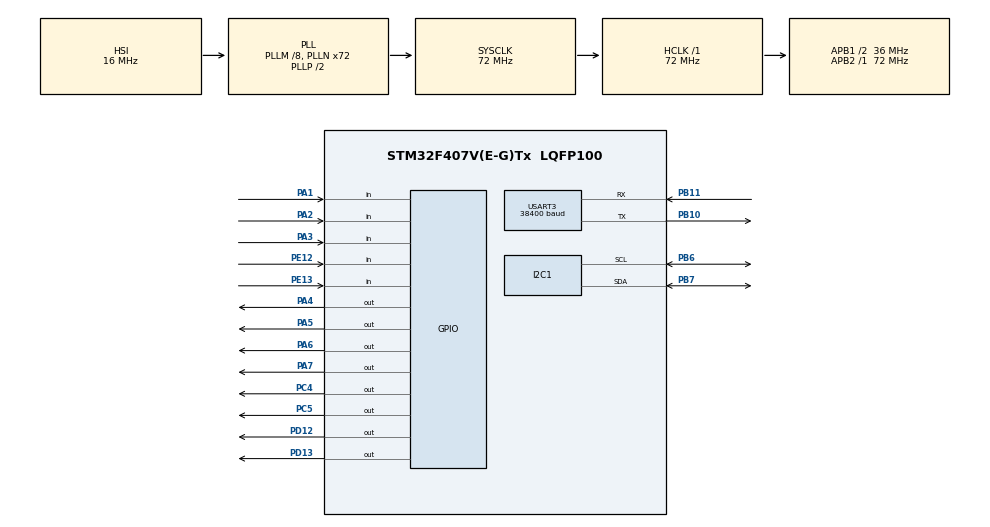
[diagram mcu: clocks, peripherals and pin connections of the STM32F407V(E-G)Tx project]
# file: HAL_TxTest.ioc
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I2C1.NoStretchMode=I2C_NOSTRETCH_DISABLE
Mcu.Family=STM32F4
Mcu.Name=STM32F407V(E-G)Tx
Mcu.Package=LQFP100
NVIC.PriorityGroup=NVIC_PRIORITYGROUP_4
NVIC.USART3_IRQn=true\:0\:0\:false\:false\:true\:true
PA1.GPIO_PuPd=GPIO_PULLUP
PA1.Signal=GPIO_Input
PA13.Mode=Serial_Wire
PA13.Signal=SYS_JTMS-SWDIO
PA14.Mode=Serial_Wire
PA14.Signal=SYS_JTCK-SWCLK
PA2.GPIO_PuPd=GPIO_PULLUP
PA2.Signal=GPIO_Input
PA3.GPIO_PuPd=GPIO_PULLUP
PA3.Signal=GPIO_Input
PA4.GPIO_Speed=GPIO_SPEED_FREQ_HIGH
PA4.Signal=GPIO_Output
PA5.GPIO_Speed=GPIO_SPEED_FREQ_HIGH
PA5.Signal=GPIO_Output
PA6.GPIO_Speed=GPIO_SPEED_FREQ_HIGH
PA6.Signal=GPIO_Output
PA7.GPIO_Speed=GPIO_SPEED_FREQ_HIGH
PA7.Signal=GPIO_Output
PB10.Mode=Asynchronous
PB10.Signal=USART3_TX
PB11.Mode=Asynchronous
PB11.Signal=USART3_RX
PB6.GPIO_PuPdOD=GPIO_NOPULL
PB6.Mode=I2C
PB6.Signal=I2C1_SCL
PB7.GPIO_PuPdOD=GPIO_NOPULL
PB7.Mode=I2C
PB7.Signal=I2C1_SDA
PC4.GPIO_Speed=GPIO_SPEED_FREQ_HIGH
PC4.Signal=GPIO_Output
PC5.GPIO_Speed=GPIO_SPEED_FREQ_HIGH
PC5.Signal=GPIO_Output
PD12.GPIO_Speed=GPIO_SPEED_FREQ_HIGH
PD12.Signal=GPIO_Output
PD13.GPIO_Speed=GPIO_SPEED_FREQ_HIGH
PD13.Signal=GPIO_Output
PE12.GPIO_PuPd=GPIO_PULLDOWN
PE12.Signal=GPIO_Input
PE13.GPIO_PuPd=GPIO_PULLDOWN
PE13.Signal=GPIO_Input
ProjectManager.HeapSize=0x200
ProjectManager.StackSize=0x400
ProjectManager.TargetToolchain=MDK-ARM V5
RCC.48MHZClocksFreq_Value=36000000
RCC.AHBFreq_Value=72000000
RCC.APB1CLKDivider=RCC_HCLK_DIV2
RCC.APB1Freq_Value=36000000
RCC.APB1TimFreq_Value=72000000
RCC.APB2Freq_Value=72000000
RCC.APB2TimFreq_Value=72000000
RCC.CortexFreq_Value=72000000
RCC.HCLKFreq_Value=72000000
RCC.HSE_VALUE=25000000
RCC.HSI_VALUE=16000000
RCC.LSE_VALUE=32768
RCC.PLLM=8
RCC.PLLN=72
RCC.SYSCLKFreq_VALUE=72000000
RCC.SYSCLKSource=RCC_SYSCLKSOURCE_PLLCLK
RCC.VCOOutputFreq_Value=144000000
USART3.BaudRate=38400
USART3.Parity=PARITY_NONE
USART3.StopBits=STOPBITS_2
USART3.VirtualMode=VM_ASYNC
board=HAL_TxTest

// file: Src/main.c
/**
  ******************************************************************************
  * @file           : main.c
  * @brief          : Main program body
  ******************************************************************************
  ** This notice applies to any and all portions of this file
  * that are not between comment pairs USER CODE BEGIN and
  * USER CODE END. Other portions of this file, whether
  * inserted by the user or by software development tools
  * are owned by their respective copyright owners.
  *
  * COPYRIGHT(c) 2018 STMicroelectronics
  *
  * Redistribution and use in source and binary forms, with or without modification,
  * are permitted provided that the following conditions are met:
  *   1. Redistributions of source code must retain the above copyright notice,
  *      this list of conditions and the following disclaimer.
  *   2. Redistributions in binary form must reproduce the above copyright notice,
  *      this list of conditions and the following disclaimer in the documentation
  *      and/or other materials provided with the distribution.
  *   3. Neither the name of STMicroelectronics nor the names of its contributors
  *      may be used to endorse or promote products derived from this software
  *      without specific prior written permission.
  *
  * THIS SOFTWARE IS PROVIDED BY THE COPYRIGHT HOLDERS AND CONTRIBUTORS "AS IS"
  * AND ANY EXPRESS OR IMPLIED WARRANTIES, INCLUDING, BUT NOT LIMITED TO, THE
  * IMPLIED WARRANTIES OF MERCHANTABILITY AND FITNESS FOR A PARTICULAR PURPOSE ARE
  * DISCLAIMED. IN NO EVENT SHALL THE COPYRIGHT HOLDER OR CONTRIBUTORS BE LIABLE
  * FOR ANY DIRECT, INDIRECT, INCIDENTAL, SPECIAL, EXEMPLARY, OR CONSEQUENTIAL
  * DAMAGES (INCLUDING, BUT NOT LIMITED TO, PROCUREMENT OF SUBSTITUTE GOODS OR
  * SERVICES; LOSS OF USE, DATA, OR PROFITS; OR BUSINESS INTERRUPTION) HOWEVER
  * CAUSED AND ON ANY THEORY OF LIABILITY, WHETHER IN CONTRACT, STRICT LIABILITY,
  * OR TORT (INCLUDING NEGLIGENCE OR OTHERWISE) ARISING IN ANY WAY OUT OF THE USE
  * OF THIS SOFTWARE, EVEN IF ADVISED OF THE POSSIBILITY OF SUCH DAMAGE.
  *
  ******************************************************************************
  */
#include "main.h"
#include "stm32f4xx_hal.h"

/* USER CODE BEGIN Includes */
#include "ssd1306.h"
#include "fonts.h"
#include "string.h"
#include "stdio.h"
#include "stdlib.h"
/* USER CODE END Includes */

I2C_HandleTypeDef hi2c1;

UART_HandleTypeDef huart3;

/* USER CODE BEGIN PV */
/* Private variables ---------------------------------------------------------*/

char TxBuff[4];
char RxBuff[4];

char CRxBuff[2];
char CTxBuff[2];
char CBtRst[1]= "$";	//00100100 	$ 	RESET

char StrInit[5];
char StrAxis[5];
char StrMult[5];

int NroAxis, NroAx;
int NroMult, NroFe;
int Tx;
int BHold = 0;

GPIO_PinState EncState1;
GPIO_PinState EncState2;
/* USER CODE END PV */

void SystemClock_Config(void);
static void MX_GPIO_Init(void);
static void MX_I2C1_Init(void);
static void MX_USART3_UART_Init(void);

/* USER CODE BEGIN PFP */
/* Private function prototypes -----------------------------------------------*/
void RstSlave(void);
void InitOLED(char* StrInit);
void MenuOLED(char* StrAxis, char* StrMult);
void AxisOLED(char* StrAxis);
void MultOLED(char* StrMult);
void InitLED(void);
void TxChar(char* CTxBuff);
void BottomHold(void);
/* USER CODE END PFP */

int main(void)
{

  /* MCU Configuration----------------------------------------------------------*/

  /* Reset of all peripherals, Initializes the Flash interface and the Systick. */
  HAL_Init();

  /* Configure the system clock */
  SystemClock_Config();

  /* Initialize all configured peripherals */
  MX_GPIO_Init();
  MX_I2C1_Init();
  MX_USART3_UART_Init();
  /* USER CODE BEGIN 2 */
	/**
	#define UART_IT_MASK  0x0000FFFFU
	#define __HAL_UART_ENABLE_IT(__HANDLE__, __INTERRUPT__)   ((((__INTERRUPT__) >> 28U) == 1U)? ((__HANDLE__)->Instance->CR1 |= ((__INTERRUPT__) & UART_IT_MASK)): \
                                                           (((__INTERRUPT__) >> 28U) == 2U)? ((__HANDLE__)->Instance->CR2 |=  ((__INTERRUPT__) & UART_IT_MASK)): \
                                                        ((__HANDLE__)->Instance->CR3 |= ((__INTERRUPT__) & UART_IT_MASK)))
	*	@brief  Enable the specified UART interrupt.
  * @param  __HANDLE__ specifies the UART Handle.
  *         This parameter can be UARTx where x: 1, 2, 3, 4, 5, 6, 7 or 8 to select the USART or
  *         UART peripheral.
  * @param  __INTERRUPT__ specifies the UART interrupt source to enable.
  *          This parameter can be one of the following values:
  *            @arg UART_IT_CTS:  CTS change interrupt
  *            @arg UART_IT_LBD:  LIN Break detection interrupt
  *            @arg UART_IT_TXE:  Transmit Data Register empty interrupt
  *            @arg UART_IT_TC:   Transmission complete interrupt
  *            @arg UART_IT_RXNE: Receive Data register not empty interrupt
  *            @arg UART_IT_IDLE: Idle line detection interrupt
  *            @arg UART_IT_PE:   Parity Error interrupt
  *            @arg UART_IT_ERR:  Error interrupt(Frame error, noise error, overrun error)
  * @retval None
  */
	__HAL_UART_ENABLE_IT(&huart3, UART_IT_TC|UART_IT_RXNE);
	ssd1306_Init();
	InitOLED("bts");

	HAL_Delay(2000);

	MenuOLED("X","  *1");
	InitLED();
	NroAxis = 1;
	NroMult = 1;
	NroAx = 1;
	NroFe = 1;

  /* USER CODE END 2 */

  /* Infinite loop */
  while (1)
  {

  /* USER CODE BEGIN 3 */
		/**
		GPIO_PinState HAL_GPIO_ReadPin(GPIO_TypeDef* GPIOx, uint16_t GPIO_Pin)
		* @brief  Reads the specified input port pin.
		* @param  GPIOx where x can be (A..K) to select the GPIO peripheral for STM32F429X device or
		*                      x can be (A..I) to select the GPIO peripheral for STM32F40XX and STM32F427X devices.
		* @param  GPIO_Pin specifies the port bit to read.
		*         This parameter can be GPIO_PIN_x where x can be (0..15).
		* @retval The input port pin value.
		*/
		EncState1 = HAL_GPIO_ReadPin(GPIOE, GPIO_PIN_12);
		HAL_GPIO_WritePin(GPIOD, GPIO_PIN_12, EncState1);
		EncState2 = HAL_GPIO_ReadPin(GPIOE, GPIO_PIN_13);
		HAL_GPIO_WritePin(GPIOD, GPIO_PIN_13, EncState2);

		if(HAL_GPIO_ReadPin(GPIOA, GPIO_PIN_1) == GPIO_PIN_RESET)
		{
			switch(NroAxis)
			{
				case 1:
					AxisOLED("Y");
					/*
					//HAL_GPIO_WritePin(GPIOA, GPIO_PIN_5, GPIO_PIN_SET);
					//HAL_GPIO_WritePin(GPIOA, GPIO_PIN_4, GPIO_PIN_RESET);
					//HAL_GPIO_WritePin(GPIOA, GPIO_PIN_6, GPIO_PIN_RESET);*/
					NroAxis++;
					break;
				case 2:
					AxisOLED("Z");
					/*
					HAL_GPIO_WritePin(GPIOA, GPIO_PIN_6, GPIO_PIN_SET);
					//HAL_GPIO_WritePin(GPIOA, GPIO_PIN_4, GPIO_PIN_RESET);
					//HAL_GPIO_WritePin(GPIOA, GPIO_PIN_5, GPIO_PIN_RESET);*/
					NroAxis++;
					break;
				case 3:
					AxisOLED("X");
					/*
					//HAL_GPIO_WritePin(GPIOA, GPIO_PIN_4, GPIO_PIN_SET);
					//HAL_GPIO_WritePin(GPIOA, GPIO_PIN_5, GPIO_PIN_RESET);
					//HAL_GPIO_WritePin(GPIOA, GPIO_PIN_6, GPIO_PIN_RESET);*/
					NroAxis++;
					break;
				}
			if(NroAxis == 4)
				NroAxis = 1;
			HAL_Delay(200);
			}
			//Mult
		if(HAL_GPIO_ReadPin(GPIOA, GPIO_PIN_3) == GPIO_PIN_RESET)
		{
			switch(NroMult)
			{
				case 1:
					MultOLED(" *10");
					/*
					//HAL_GPIO_WritePin(GPIOC, GPIO_PIN_4, GPIO_PIN_SET);
					//HAL_GPIO_WritePin(GPIOA, GPIO_PIN_7, GPIO_PIN_RESET);
					//HAL_GPIO_WritePin(GPIOC, GPIO_PIN_5, GPIO_PIN_RESET);*/
					NroMult++;
					break;
				case 2:
					MultOLED("*100");
					/*
					//HAL_GPIO_WritePin(GPIOC, GPIO_PIN_5, GPIO_PIN_SET);
					//HAL_GPIO_WritePin(GPIOA, GPIO_PIN_7, GPIO_PIN_RESET);
					//HAL_GPIO_WritePin(GPIOC, GPIO_PIN_4, GPIO_PIN_RESET);*/
					NroMult++;
					break;
				case 3:
					MultOLED("  *1");
					/*
					//HAL_GPIO_WritePin(GPIOA, GPIO_PIN_7, GPIO_PIN_SET);
					//HAL_GPIO_WritePin(GPIOC, GPIO_PIN_4, GPIO_PIN_RESET);
					//HAL_GPIO_WritePin(GPIOC, GPIO_PIN_5, GPIO_PIN_RESET);*/
					NroMult++;
					break;
				}
			if(NroMult == 4)
				NroMult = 1;
			HAL_Delay(200);
			}
		/**
		int sprintf(char * __restrict *s*, const char * __restrict *format*, ...) __attribute__((__nonnull__(1,2)));
		* is equivalent to fprintf, except that the argument s specifies an array into which the generated output is to be written,
		* rather than to a stream. A null character is written at the end of the characters written;
		* it is not counted as part of the returned sum.
		* Returns: the number of characters written to the array, not counting the terminating null character.
		*/
		BottomHold();
		if(BHold == 0)
			sprintf(TxBuff, "%i%i%u%u", NroAxis, NroMult, EncState1, EncState2);
		else if (BHold == 1)
			sprintf(TxBuff, "%i%i%u%u", NroAx, NroFe, EncState1, EncState2);
		Tx = atoi(TxBuff);
		TxChar(CTxBuff);
		/**
		HAL_UART_Transmit_IT(UART_HandleTypeDef *huart, uint8_t *pData, uint16_t Size)
		* @brief  Sends an amount of data in non blocking mode.
		* @param  huart pointer to a UART_HandleTypeDef structure that contains
		*                the configuration information for the specified UART module.
		* @param  pData Pointer to data buffer
		* @param  Size Amount of data to be sent
		* @retval HAL status
		*/
		HAL_UART_Transmit_IT(&huart3, (uint8_t *)CTxBuff, strlen(CTxBuff));

		/**
		BINARY  	ASCII		|
		------------------
		00101000	(				00111000	8				01010000	P				01101000	h				01110100	t
		00101010	*				00111010	:				01010010	R				01101010	j				01110110	v
		00101100	,				00111100	<				01010100	T				01101100	l				01111000	x
		00101110	.				00111110	>				01010110	V				01101110	n				01111010	z
		00110000	0				01001000	H				01011000	X				01110000	p				01111100	|
		00110010	2				01001010	J				01011010	Z				01110010	r				01111110	~
		00110100	4				01001100	L				01011100  \ ->00100110 	&
		00110110	6				01001110	N				01011110	^
		*/

	}
  /* USER CODE END 3 */

}

void SystemClock_Config(void)
{

  RCC_OscInitTypeDef RCC_OscInitStruct;
  RCC_ClkInitTypeDef RCC_ClkInitStruct;

    /**Configure the main internal regulator output voltage
    */
  __HAL_RCC_PWR_CLK_ENABLE();

  __HAL_PWR_VOLTAGESCALING_CONFIG(PWR_REGULATOR_VOLTAGE_SCALE1);

    /**Initializes the CPU, AHB and APB busses clocks
    */
  RCC_OscInitStruct.OscillatorType = RCC_OSCILLATORTYPE_HSI;
  RCC_OscInitStruct.HSIState = RCC_HSI_ON;
  RCC_OscInitStruct.HSICalibrationValue = 16;
  RCC_OscInitStruct.PLL.PLLState = RCC_PLL_ON;
  RCC_OscInitStruct.PLL.PLLSource = RCC_PLLSOURCE_HSI;
  RCC_OscInitStruct.PLL.PLLM = 8;
  RCC_OscInitStruct.PLL.PLLN = 72;
  RCC_OscInitStruct.PLL.PLLP = RCC_PLLP_DIV2;
  RCC_OscInitStruct.PLL.PLLQ = 4;
  if (HAL_RCC_OscConfig(&RCC_OscInitStruct) != HAL_OK)
  {
    _Error_Handler(__FILE__, __LINE__);
  }

    /**Initializes the CPU, AHB and APB busses clocks
    */
  RCC_ClkInitStruct.ClockType = RCC_CLOCKTYPE_HCLK|RCC_CLOCKTYPE_SYSCLK
                              |RCC_CLOCKTYPE_PCLK1|RCC_CLOCKTYPE_PCLK2;
  RCC_ClkInitStruct.SYSCLKSource = RCC_SYSCLKSOURCE_PLLCLK;
  RCC_ClkInitStruct.AHBCLKDivider = RCC_SYSCLK_DIV1;
  RCC_ClkInitStruct.APB1CLKDivider = RCC_HCLK_DIV2;
  RCC_ClkInitStruct.APB2CLKDivider = RCC_HCLK_DIV1;

  if (HAL_RCC_ClockConfig(&RCC_ClkInitStruct, FLASH_LATENCY_2) != HAL_OK)
  {
    _Error_Handler(__FILE__, __LINE__);
  }

    /**Configure the Systick interrupt time
    */
  HAL_SYSTICK_Config(HAL_RCC_GetHCLKFreq()/1000);

    /**Configure the Systick
    */
  HAL_SYSTICK_CLKSourceConfig(SYSTICK_CLKSOURCE_HCLK);

  /* SysTick_IRQn interrupt configuration */
  HAL_NVIC_SetPriority(SysTick_IRQn, 0, 0);
}

/* I2C1 init function */
static void MX_I2C1_Init(void)
{

  hi2c1.Instance = I2C1;
  hi2c1.Init.ClockSpeed = 100000;
  hi2c1.Init.DutyCycle = I2C_DUTYCYCLE_2;
  hi2c1.Init.OwnAddress1 = 0;
  hi2c1.Init.AddressingMode = I2C_ADDRESSINGMODE_7BIT;
  hi2c1.Init.DualAddressMode = I2C_DUALADDRESS_DISABLE;
  hi2c1.Init.OwnAddress2 = 0;
  hi2c1.Init.GeneralCallMode = I2C_GENERALCALL_DISABLE;
  hi2c1.Init.NoStretchMode = I2C_NOSTRETCH_DISABLE;
  if (HAL_I2C_Init(&hi2c1) != HAL_OK)
  {
    _Error_Handler(__FILE__, __LINE__);
  }

}

/* USART3 init function */
static void MX_USART3_UART_Init(void)
{

  huart3.Instance = USART3;
  huart3.Init.BaudRate = 38400;
  huart3.Init.WordLength = UART_WORDLENGTH_8B;
  huart3.Init.StopBits = UART_STOPBITS_2;
  huart3.Init.Parity = UART_PARITY_NONE;
  huart3.Init.Mode = UART_MODE_TX_RX;
  huart3.Init.HwFlowCtl = UART_HWCONTROL_NONE;
  huart3.Init.OverSampling = UART_OVERSAMPLING_16;
  if (HAL_UART_Init(&huart3) != HAL_OK)
  {
    _Error_Handler(__FILE__, __LINE__);
  }

}

/** Configure pins as
        * Analog
        * Input
        * Output
        * EVENT_OUT
        * EXTI
*/
static void MX_GPIO_Init(void)
{

  GPIO_InitTypeDef GPIO_InitStruct;

  /* GPIO Ports Clock Enable */
  __HAL_RCC_GPIOA_CLK_ENABLE();
  __HAL_RCC_GPIOC_CLK_ENABLE();
  __HAL_RCC_GPIOE_CLK_ENABLE();
  __HAL_RCC_GPIOB_CLK_ENABLE();
  __HAL_RCC_GPIOD_CLK_ENABLE();

  /*Configure GPIO pin Output Level */
  HAL_GPIO_WritePin(GPIOA, GPIO_PIN_4|GPIO_PIN_5|GPIO_PIN_6|GPIO_PIN_7, GPIO_PIN_RESET);

  /*Configure GPIO pin Output Level */
  HAL_GPIO_WritePin(GPIOC, GPIO_PIN_4|GPIO_PIN_5, GPIO_PIN_RESET);

  /*Configure GPIO pin Output Level */
  HAL_GPIO_WritePin(GPIOD, GPIO_PIN_12|GPIO_PIN_13, GPIO_PIN_RESET);

  /*Configure GPIO pins : PA1 PA2 PA3 */
  GPIO_InitStruct.Pin = GPIO_PIN_1|GPIO_PIN_2|GPIO_PIN_3;
  GPIO_InitStruct.Mode = GPIO_MODE_INPUT;
  GPIO_InitStruct.Pull = GPIO_PULLUP;
  HAL_GPIO_Init(GPIOA, &GPIO_InitStruct);

  /*Configure GPIO pins : PA4 PA5 PA6 PA7 */
  GPIO_InitStruct.Pin = GPIO_PIN_4|GPIO_PIN_5|GPIO_PIN_6|GPIO_PIN_7;
  GPIO_InitStruct.Mode = GPIO_MODE_OUTPUT_PP;
  GPIO_InitStruct.Pull = GPIO_NOPULL;
  GPIO_InitStruct.Speed = GPIO_SPEED_FREQ_HIGH;
  HAL_GPIO_Init(GPIOA, &GPIO_InitStruct);

  /*Configure GPIO pins : PC4 PC5 */
  GPIO_InitStruct.Pin = GPIO_PIN_4|GPIO_PIN_5;
  GPIO_InitStruct.Mode = GPIO_MODE_OUTPUT_PP;
  GPIO_InitStruct.Pull = GPIO_NOPULL;
  GPIO_InitStruct.Speed = GPIO_SPEED_FREQ_HIGH;
  HAL_GPIO_Init(GPIOC, &GPIO_InitStruct);

  /*Configure GPIO pins : PE12 PE13 */
  GPIO_InitStruct.Pin = GPIO_PIN_12|GPIO_PIN_13;
  GPIO_InitStruct.Mode = GPIO_MODE_INPUT;
  GPIO_InitStruct.Pull = GPIO_PULLDOWN;
  HAL_GPIO_Init(GPIOE, &GPIO_InitStruct);

  /*Configure GPIO pins : PD12 PD13 */
  GPIO_InitStruct.Pin = GPIO_PIN_12|GPIO_PIN_13;
  GPIO_InitStruct.Mode = GPIO_MODE_OUTPUT_PP;
  GPIO_InitStruct.Pull = GPIO_NOPULL;
  GPIO_InitStruct.Speed = GPIO_SPEED_FREQ_HIGH;
  HAL_GPIO_Init(GPIOD, &GPIO_InitStruct);

}

/* USER CODE BEGIN 4 */
void InitLED(void)
{
	HAL_GPIO_WritePin(GPIOA, GPIO_PIN_4, GPIO_PIN_SET);
	HAL_GPIO_WritePin(GPIOA, GPIO_PIN_5, GPIO_PIN_RESET);
	HAL_GPIO_WritePin(GPIOA, GPIO_PIN_6, GPIO_PIN_RESET);
	HAL_GPIO_WritePin(GPIOA, GPIO_PIN_7, GPIO_PIN_SET);
	HAL_GPIO_WritePin(GPIOC, GPIO_PIN_4, GPIO_PIN_RESET);
	HAL_GPIO_WritePin(GPIOC, GPIO_PIN_5, GPIO_PIN_RESET);
}
void InitOLED(char* StrInit)
{
	ssd1306_Fill(Black);				//fill black
	ssd1306_SetCursor(40,2);			//position
	ssd1306_WriteString(StrInit, Font_16x26, White);
	ssd1306_UpdateScreen();			//update OLED
}
/*void ParingOLED(char* strParingOled)
{
	ssd1306_Fill(Black);				//fill black
	ssd1306_SetCursor(40,2);			//position
	ssd1306_WriteString(StrParingOled, Font_11x18, White);
	ssd1306_UpdateScreen();			//update OLED
}*/
void RstSlave(void)
{
	HAL_UART_Transmit_IT(&huart3, (uint8_t *)CBtRst, strlen(CBtRst)); // tx "rstsl"
}
void MenuOLED(char* StrAxis, char* StrMult)
{

	ssd1306_Fill(Black);				//fill black
	ssd1306_SetCursor(25,8);			//position
	ssd1306_WriteString(StrAxis, Font_11x18, White);
	ssd1306_SetCursor(55,3);			//position
	ssd1306_WriteString("|", Font_16x26, White);
	ssd1306_SetCursor(80,8);			//position
	ssd1306_WriteString(StrMult, Font_11x18, White);

	ssd1306_UpdateScreen();			//update OLED
}
void AxisOLED(char* StrAxis)
{
	ssd1306_SetCursor(25,8);			//position
	ssd1306_WriteString(StrAxis, Font_11x18, White);
	ssd1306_UpdateScreen();			//update OLED
}
void MultOLED(char* StrMult)
{
	ssd1306_SetCursor(80,8);			//position
	ssd1306_WriteString(StrMult, Font_11x18, White);
	ssd1306_UpdateScreen();			//update OLED
}

void BottomHold(void)
{
	if(HAL_GPIO_ReadPin(GPIOA, GPIO_PIN_2) == GPIO_PIN_RESET && BHold == 0)
	{
		HAL_Delay(3000);
		if(HAL_GPIO_ReadPin(GPIOA, GPIO_PIN_2) == GPIO_PIN_RESET)
		{
			NroAx = NroAxis;
			NroFe = NroMult;
		}
	}
}
void TxChar(char* CTxBuff)
{
	switch(Tx)
	{
		//Axis X					// LSB & MSB not count
		case 1100:				// binary = 00101000
			CTxBuff[0] = '(';
			break;
		case 1101:				// binary = 00101010
			CTxBuff[0] = '*';
			break;
		case 1110:				// binary = 00101100
			CTxBuff[0] = ',';
			break;
		case 1111:				// binary = 00101110
			CTxBuff[0] = '.';
			break;
		case 1200:				// binary = 00110000
			CTxBuff[0] = '0';
			break;
		case 1201:				// binary = 00110010
			CTxBuff[0] = '2';
			break;
		case 1210:				// binary = 00110100
			CTxBuff[0] = '4';
			break;
		case 1211:				// binary = 00110110
			CTxBuff[0] = '6';
			break;
		case 1300:				// binary = 00111000
			CTxBuff[0] = '8';
			break;
		case 1301:				// binary = 00111010
			CTxBuff[0] = ':';
			break;
		case 1310:				// binary = 00111100
			CTxBuff[0] = '<';
			break;
		case 1311:				// binary = 00111110
			CTxBuff[0] = '>';
			break;
		//Axis Y
		case 2100:				// binary = 01001000
			CTxBuff[0] = 'H';
			break;
		case 2101:				// binary = 01001010
			CTxBuff[0] = 'J';
			break;
		case 2110:				// binary = 01001100
			CTxBuff[0] = 'L';
			break;
		case 2111:				// binary = 01001110
			CTxBuff[0] = 'N';
			break;
		case 2200:				// binary = 01010000
			CTxBuff[0] = 'P';
			break;
		case 2201:				// binary = 01010010
			CTxBuff[0] = 'R';
			break;
		case 2210:				// binary = 01010100
			CTxBuff[0] = 'T';
			break;
		case 2211:				// binary = 01010110
			CTxBuff[0] = 'V';
			break;
		case 2300:				// binary = 01011000
			CTxBuff[0] = 'X';
			break;
		case 2301:				// binary = 01011010
			CTxBuff[0] = 'Z';
			break;
		case 2310:				// binary = 01011100 = "\" -> 00100110 = &
			CTxBuff[0] = '&';
			break;
		case 2311:				// binary = 01011110
			CTxBuff[0] = '^';
			break;
		//Axis Z
		case 3100:				// binary = 01101000
			CTxBuff[0] = 'h';
			break;
		case 3101:				// binary = 01101010
			CTxBuff[0] = 'j';
			break;
		case 3110:				// binary = 01101100
			CTxBuff[0] = 'l';
			break;
		case 3111:				// binary = 01101110
			CTxBuff[0] = 'n';
			break;
		case 3200:				// binary = 01110000
			CTxBuff[0] = 'p';
			break;
		case 3201:				// binary = 01110010
			CTxBuff[0] = 'r';
			break;
		case 3210:				// binary = 01110100
			CTxBuff[0] = 't';
			break;
		case 3211:				// binary = 01110110
			CTxBuff[0] = 'v';
			break;
		case 3300:				// binary = 01111000
			CTxBuff[0] = 'x';
			break;
		case 3301:				// binary = 01111010
			CTxBuff[0] = 'z';
			break;
		case 3310:				// binary = 01111100
			CTxBuff[0] = '|';
			break;
		case 3311:				// binary = 01111110
			CTxBuff[0] = '~';
			break;
	}
}
/* USER CODE END 4 */

void _Error_Handler(char *file, int line)
{
  while(1)
  {
  }
}

/************************ (C) COPYRIGHT STMicroelectronics *****END OF FILE****/
